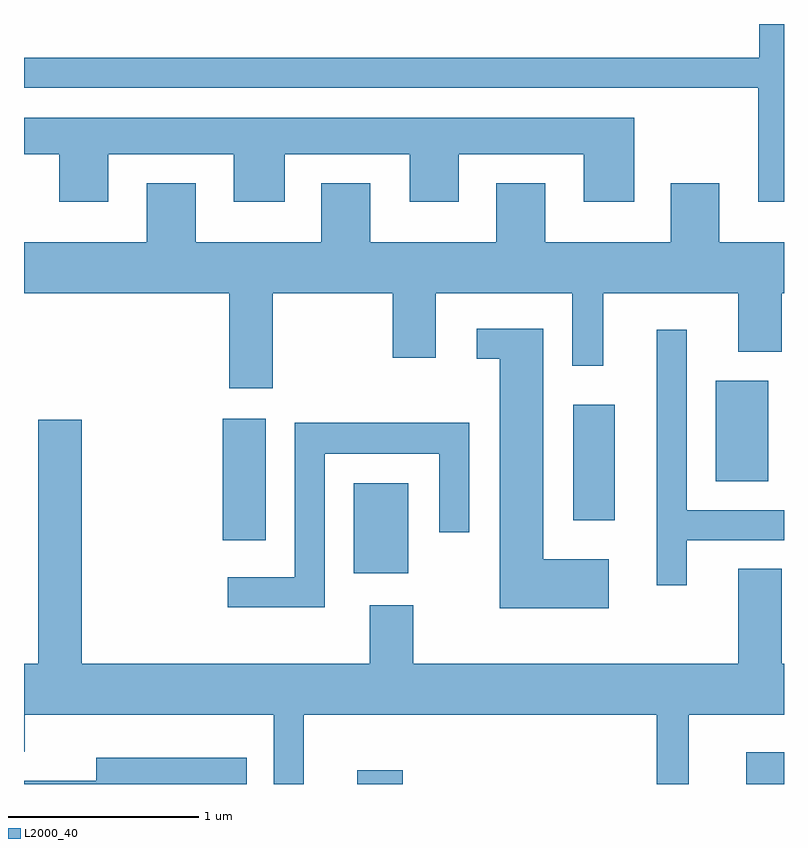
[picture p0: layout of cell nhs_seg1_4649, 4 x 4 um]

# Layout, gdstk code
import gdstk
lib = gdstk.Library(unit=1e-6, precision=1e-09)
def R(c, l, rs):  # rectangles x0, y0, x1, y1
    for r in rs: c.add(gdstk.rectangle(r[:2], r[2:], *l))
def P(c, l, *ps):  # polygons
    for p in ps: c.add(gdstk.Polygon(p, *l))
L2000_40 = (2000, 40)

nhs_seg1_4649 = lib.new_cell('nhs_seg1_4649')
R(nhs_seg1_4649, L2000_40, [(327.366,843.712,327.604,843.784), (329.411,843.712,329.611,843.879), (327.346,844.821,327.634,845.294), (326.656,844.996,326.884,845.634), (328.501,845.101,328.719,845.709), (329.251,845.306,329.529,845.834)])
P(nhs_seg1_4649, L2000_40, [(329.611,847.712),(329.481,847.712),(329.481,847.534),(325.611,847.534),(325.611,847.376),(329.476,847.376),(329.476,846.776),(329.611,846.776)],
  [(326.054,847.026),(326.716,847.026),(326.716,846.776),(326.984,846.776),(326.984,847.026),(327.641,847.026),(327.641,846.776),(327.899,846.776),(327.899,847.026),(328.556,847.026),(328.556,846.776),(328.824,846.776),(328.824,847.219),(325.611,847.219),(325.611,847.026),(325.796,847.026),(325.796,846.776),(326.054,846.776)],
  [(326.919,846.296),(327.551,846.296),(327.551,845.956),(327.779,845.956),(327.779,846.296),(328.496,846.296),(328.496,845.913),(328.659,845.913),(328.659,846.296),(329.371,846.296),(329.371,845.986),(329.599,845.986),(329.599,846.296),(329.611,846.296),(329.611,846.564),(329.269,846.564),(329.269,846.874),(329.016,846.874),(329.016,846.564),(328.354,846.564),(328.354,846.874),(328.096,846.874),(328.096,846.564),(327.434,846.564),(327.434,846.874),(327.176,846.874),(327.176,846.564),(326.514,846.564),(326.514,846.874),(326.256,846.874),(326.256,846.564),(325.611,846.564),(325.611,846.296),(326.691,846.296),(326.691,845.796),(326.919,845.796)],
  [(328.689,844.894),(328.344,844.894),(328.344,846.109),(327.993,846.109),(327.993,845.951),(328.116,845.951),(328.116,844.636),(328.689,844.636)],
  [(329.099,844.996),(329.611,844.996),(329.611,845.154),(329.099,845.154),(329.099,846.103),(328.941,846.103),(328.941,844.758),(329.099,844.758)],
  [(327.084,844.076),(328.941,844.076),(328.941,843.712),(329.109,843.712),(329.109,844.076),(329.611,844.076),(329.611,844.344),(329.599,844.344),(329.599,844.844),(329.371,844.844),(329.371,844.344),(327.659,844.344),(327.659,844.654),(327.431,844.654),(327.431,844.344),(325.914,844.344),(325.914,845.629),(325.686,845.629),(325.686,844.344),(325.611,844.344),(325.611,843.881),(325.614,843.881),(325.614,844.076),(326.926,844.076),(326.926,843.712),(327.084,843.712)],
  [(327.194,845.451),(327.796,845.451),(327.796,845.038),(327.954,845.038),(327.954,845.614),(327.036,845.614),(327.036,844.799),(326.683,844.799),(326.683,844.641),(327.194,844.641)],
  [(326.783,843.849),(325.991,843.849),(325.991,843.729),(325.611,843.729),(325.611,843.712),(326.783,843.712)])

lib.write_gds('nhs_seg1_4649.gds')
